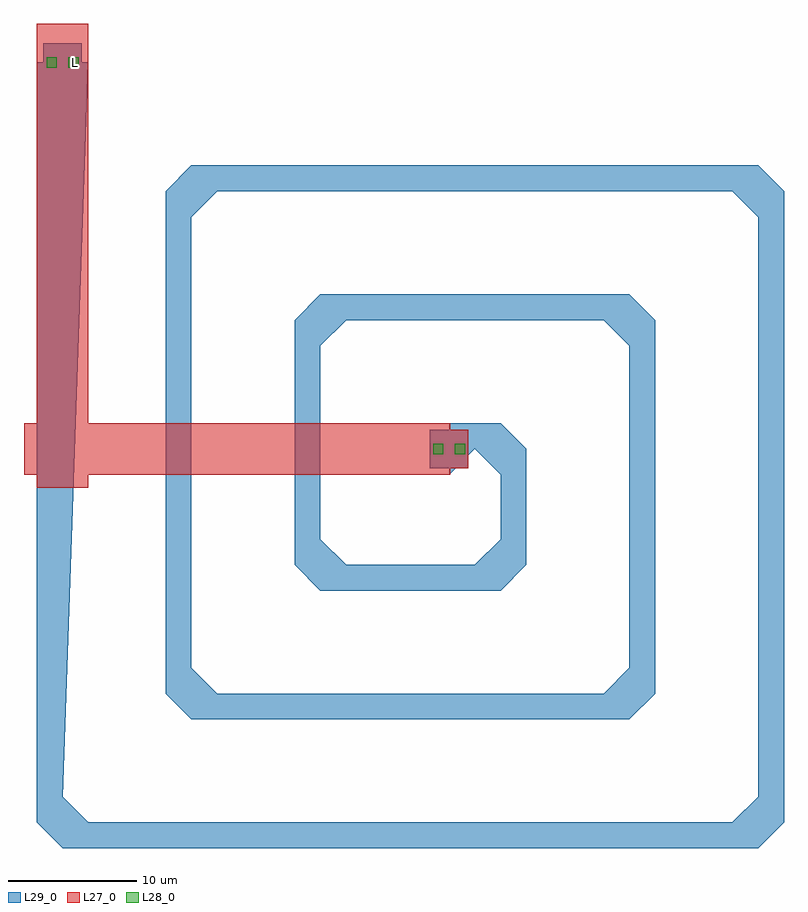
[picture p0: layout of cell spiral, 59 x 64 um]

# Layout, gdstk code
import gdstk
lib = gdstk.Library(unit=1e-6, precision=5e-10)
def R(c, l, rs):  # rectangles x0, y0, x1, y1
    for r in rs: c.add(gdstk.rectangle(r[:2], r[2:], *l))
def P(c, l, *ps):  # polygons
    for p in ps: c.add(gdstk.Polygon(p, *l))
L27_0 = (27, 0)
L28_0 = (28, 0)
L29_0 = (29, 0)

spiral = lib.new_cell('spiral')
R(spiral, L27_0, [(18,47,22,83), (17,48,50.1,52), (48.5,48.5,51.5,51.5), (18.5,78.5,21.5,81.5)])
R(spiral, L28_0, [(48.76,49.6,49.56,50.4), (50.44,49.6,51.24,50.4), (18.76,79.6,19.56,80.4), (20.44,79.6,21.24,80.4)])
R(spiral, L29_0, [(48.5,48.5,51.5,51.5), (18.5,78.5,21.5,81.5)])
P(spiral, L29_0, [(20,19),(18,21),(18,80),(22,80),(20,23),(22,21),(72,21),(74,23),(74,68),(72,70),(32,70),(30,68),(30,33),(32,31),(62,31),(64,33),(64,58),(62,60),(42,60),(40,58),(40,43),(42,41),(52,41),(54,43),(54,48),(52,50),(50,48),(50,52),(54,52),(56,50),(56,41),(54,39),(40,39),(38,41),(38,60),(40,62),(64,62),(66,60),(66,31),(64,29),(30,29),(28,31),(28,70),(30,72),(74,72),(76,70),(76,21),(74,19)])
spiral.add(gdstk.Label('L', (21,80), layer=29, texttype=0))

lib.write_gds('spiral.gds')
